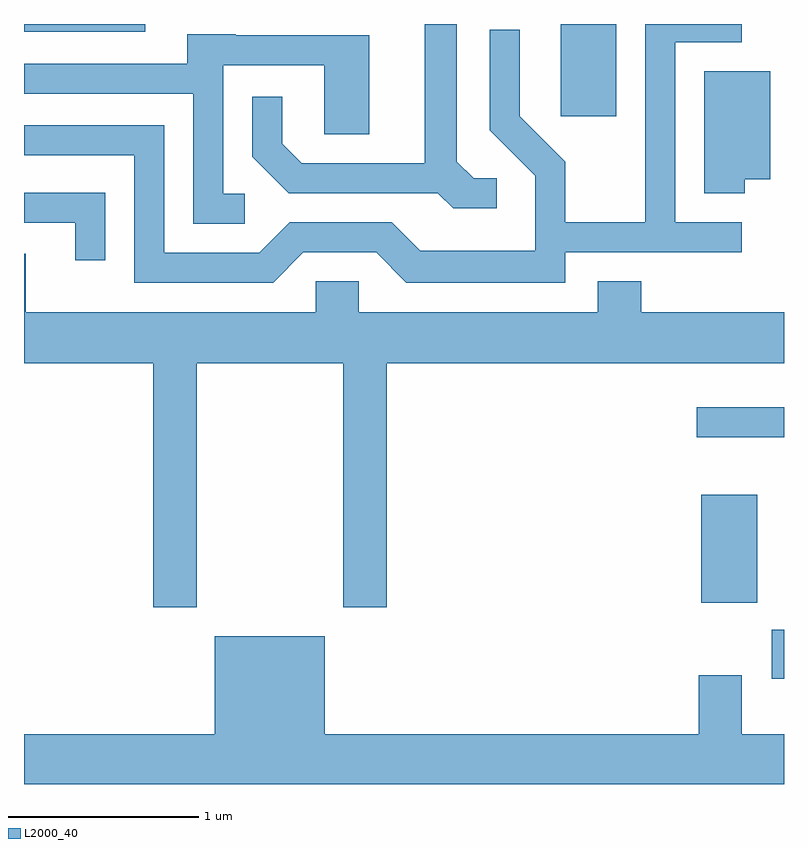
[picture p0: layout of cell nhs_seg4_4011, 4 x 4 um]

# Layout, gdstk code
import gdstk
lib = gdstk.Library(unit=1e-6, precision=1e-09)
def R(c, l, rs):  # rectangles x0, y0, x1, y1
    for r in rs: c.add(gdstk.rectangle(r[:2], r[2:], *l))
def P(c, l, *ps):  # polygons
    for p in ps: c.add(gdstk.Polygon(p, *l))
L2000_40 = (2000, 40)

nhs_seg4_4011 = lib.new_cell('nhs_seg4_4011')
R(nhs_seg4_4011, L2000_40, [(305.546,1388.536,305.611,1388.794), (305.176,1388.936,305.469,1389.504), (305.153,1389.806,305.611,1389.964), (304.436,1391.496,304.729,1391.982), (301.611,1391.941,302.249,1391.982)])
P(nhs_seg4_4011, L2000_40, [(303.082,1390.781),(303.464,1390.781),(303.624,1390.621),(304.459,1390.621),(304.459,1390.781),(305.388,1390.781),(305.388,1390.939),(305.039,1390.939),(305.039,1391.886),(305.388,1391.886),(305.388,1391.982),(304.881,1391.982),(304.881,1390.939),(304.459,1390.939),(304.459,1391.257),(304.219,1391.497),(304.219,1391.953),(304.061,1391.953),(304.061,1391.424),(304.301,1391.184),(304.301,1390.789),(303.697,1390.789),(303.547,1390.939),(303.009,1390.939),(302.849,1390.779),(302.349,1390.779),(302.349,1391.449),(301.611,1391.449),(301.611,1391.291),(302.191,1391.291),(302.191,1390.621),(302.922,1390.621)],
  [(304.098,1391.169),(303.977,1391.169),(303.889,1391.257),(303.889,1391.982),(303.721,1391.982),(303.721,1391.249),(303.072,1391.249),(302.969,1391.352),(302.969,1391.598),(302.811,1391.598),(302.811,1391.284),(303.004,1391.091),(303.789,1391.091),(303.869,1391.011),(304.098,1391.011)],
  [(302.773,1391.089),(302.659,1391.089),(302.659,1391.766),(303.191,1391.766),(303.191,1391.401),(303.429,1391.401),(303.429,1391.924),(302.725,1391.924),(302.725,1391.929),(302.471,1391.929),(302.471,1391.774),(301.611,1391.774),(301.611,1391.616),(302.501,1391.616),(302.501,1390.931),(302.773,1390.931)],
  [(305.404,1391.166),(305.539,1391.166),(305.539,1391.734),(305.191,1391.734),(305.191,1391.091),(305.404,1391.091)],
  [(302.039,1391.094),(301.611,1391.094),(301.611,1390.936),(301.881,1390.936),(301.881,1390.738),(302.039,1390.738)],
  [(302.519,1390.196),(303.291,1390.196),(303.291,1388.911),(303.519,1388.911),(303.519,1390.196),(305.611,1390.196),(305.611,1390.464),(304.859,1390.464),(304.859,1390.629),(304.631,1390.629),(304.631,1390.464),(303.374,1390.464),(303.374,1390.629),(303.146,1390.629),(303.146,1390.464),(301.619,1390.464),(301.619,1390.774),(301.611,1390.774),(301.611,1390.196),(302.291,1390.196),(302.291,1388.911),(302.519,1388.911)],
  [(305.611,1388.244),(305.389,1388.244),(305.389,1388.554),(305.161,1388.554),(305.161,1388.244),(303.194,1388.244),(303.194,1388.759),(302.616,1388.759),(302.616,1388.244),(301.611,1388.244),(301.611,1387.982),(305.611,1387.982)])

lib.write_gds('nhs_seg4_4011.gds')
